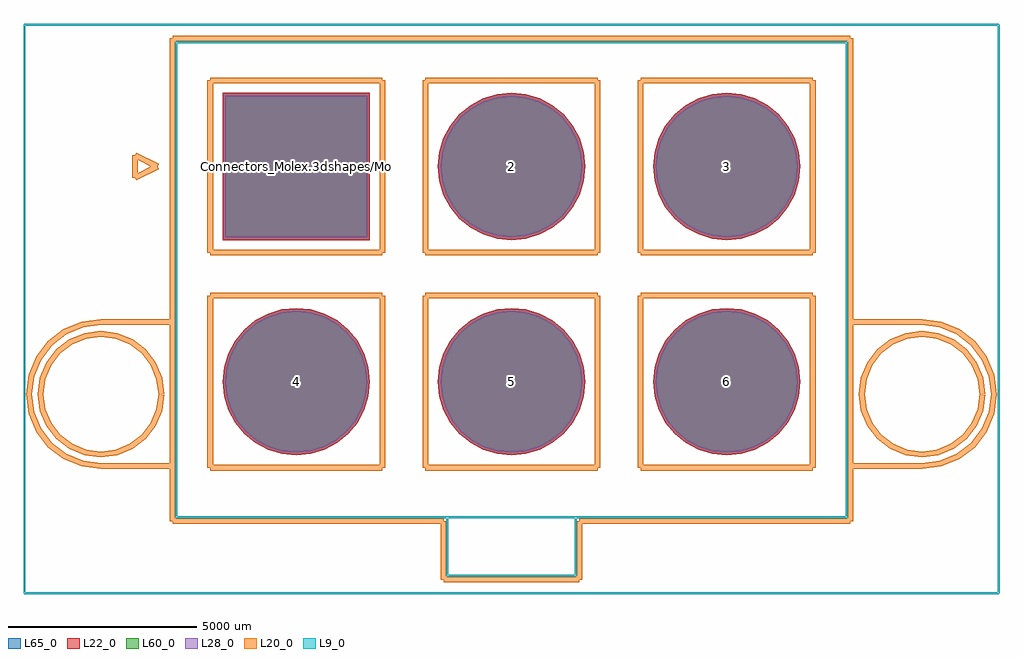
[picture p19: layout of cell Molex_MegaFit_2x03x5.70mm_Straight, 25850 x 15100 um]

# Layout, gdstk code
import gdstk
lib = gdstk.Library(unit=1e-6, precision=1e-09)
def R(c, l, rs):  # rectangles x0, y0, x1, y1
    for r in rs: c.add(gdstk.rectangle(r[:2], r[2:], *l))
def P(c, l, *ps):  # polygons
    for p in ps: c.add(gdstk.Polygon(p, *l))
L9_0 = (9, 0)
L20_0 = (20, 0)
L22_0 = (22, 0)
L28_0 = (28, 0)
L60_0 = (60, 0)
L65_0 = (65, 0)

molex_megafit_2x03x5_70m = lib.new_cell('Molex_MegaFit_2x03x5.70mm_Straight')
R(molex_megafit_2x03x5_70m, L22_0, [(-1950,-1950,1950,1950)])
P(molex_megafit_2x03x5_70m, L22_0, [(13350,-5700),(13312.531,-5319.574),(13201.565,-4953.767),(13021.366,-4616.638),(12778.858,-4321.142),(12483.362,-4078.634),(12146.233,-3898.435),(11780.426,-3787.469),(11400,-3750),(11019.574,-3787.469),(10653.767,-3898.435),(10316.638,-4078.634),(10021.142,-4321.142),(9778.634,-4616.638),(9598.435,-4953.767),(9487.469,-5319.574),(9450,-5700),(9487.469,-6080.426),(9598.435,-6446.233),(9778.634,-6783.362),(10021.142,-7078.858),(10316.638,-7321.366),(10653.767,-7501.565),(11019.574,-7612.531),(11400,-7650),(11780.426,-7612.531),(12146.233,-7501.565),(12483.362,-7321.366),(12778.858,-7078.858),(13021.366,-6783.362),(13201.565,-6446.233),(13312.531,-6080.426)],
  [(7650,-5700),(7612.531,-5319.574),(7501.565,-4953.767),(7321.366,-4616.638),(7078.858,-4321.142),(6783.362,-4078.634),(6446.233,-3898.435),(6080.426,-3787.469),(5700,-3750),(5319.574,-3787.469),(4953.767,-3898.435),(4616.638,-4078.634),(4321.142,-4321.142),(4078.634,-4616.638),(3898.435,-4953.767),(3787.469,-5319.574),(3750,-5700),(3787.469,-6080.426),(3898.435,-6446.233),(4078.634,-6783.362),(4321.142,-7078.858),(4616.638,-7321.366),(4953.767,-7501.565),(5319.574,-7612.531),(5700,-7650),(6080.426,-7612.531),(6446.233,-7501.565),(6783.362,-7321.366),(7078.858,-7078.858),(7321.366,-6783.362),(7501.565,-6446.233),(7612.531,-6080.426)],
  [(1950,-5700),(1912.531,-5319.574),(1801.565,-4953.767),(1621.366,-4616.638),(1378.858,-4321.142),(1083.362,-4078.634),(746.233,-3898.435),(380.426,-3787.469),(0,-3750),(-380.426,-3787.469),(-746.233,-3898.435),(-1083.362,-4078.634),(-1378.858,-4321.142),(-1621.366,-4616.638),(-1801.565,-4953.767),(-1912.531,-5319.574),(-1950,-5700),(-1912.531,-6080.426),(-1801.565,-6446.233),(-1621.366,-6783.362),(-1378.858,-7078.858),(-1083.362,-7321.366),(-746.233,-7501.565),(-380.426,-7612.531),(0,-7650),(380.426,-7612.531),(746.233,-7501.565),(1083.362,-7321.366),(1378.858,-7078.858),(1621.366,-6783.362),(1801.565,-6446.233),(1912.531,-6080.426)],
  [(13350,0),(13312.531,380.426),(13201.565,746.233),(13021.366,1083.362),(12778.858,1378.858),(12483.362,1621.366),(12146.233,1801.565),(11780.426,1912.531),(11400,1950),(11019.574,1912.531),(10653.767,1801.565),(10316.638,1621.366),(10021.142,1378.858),(9778.634,1083.362),(9598.435,746.233),(9487.469,380.426),(9450,0),(9487.469,-380.426),(9598.435,-746.233),(9778.634,-1083.362),(10021.142,-1378.858),(10316.638,-1621.366),(10653.767,-1801.565),(11019.574,-1912.531),(11400,-1950),(11780.426,-1912.531),(12146.233,-1801.565),(12483.362,-1621.366),(12778.858,-1378.858),(13021.366,-1083.362),(13201.565,-746.233),(13312.531,-380.426)],
  [(7650,0),(7612.531,380.426),(7501.565,746.233),(7321.366,1083.362),(7078.858,1378.858),(6783.362,1621.366),(6446.233,1801.565),(6080.426,1912.531),(5700,1950),(5319.574,1912.531),(4953.767,1801.565),(4616.638,1621.366),(4321.142,1378.858),(4078.634,1083.362),(3898.435,746.233),(3787.469,380.426),(3750,0),(3787.469,-380.426),(3898.435,-746.233),(4078.634,-1083.362),(4321.142,-1378.858),(4616.638,-1621.366),(4953.767,-1801.565),(5319.574,-1912.531),(5700,-1950),(6080.426,-1912.531),(6446.233,-1801.565),(6783.362,-1621.366),(7078.858,-1378.858),(7321.366,-1083.362),(7501.565,-746.233),(7612.531,-380.426)])
R(molex_megafit_2x03x5_70m, L28_0, [(-1875,-1875,1875,1875)])
P(molex_megafit_2x03x5_70m, L28_0, [(13275,-5700),(13238.972,-5334.206),(13132.274,-4982.469),(12959.006,-4658.306),(12725.825,-4374.175),(12441.694,-4140.994),(12117.531,-3967.726),(11765.794,-3861.028),(11400,-3825),(11034.206,-3861.028),(10682.469,-3967.726),(10358.306,-4140.994),(10074.175,-4374.175),(9840.994,-4658.306),(9667.726,-4982.469),(9561.028,-5334.206),(9525,-5700),(9561.028,-6065.794),(9667.726,-6417.531),(9840.994,-6741.694),(10074.175,-7025.825),(10358.306,-7259.006),(10682.469,-7432.274),(11034.206,-7538.972),(11400,-7575),(11765.794,-7538.972),(12117.531,-7432.274),(12441.694,-7259.006),(12725.825,-7025.825),(12959.006,-6741.694),(13132.274,-6417.531),(13238.972,-6065.794)],
  [(7575,-5700),(7538.972,-5334.206),(7432.274,-4982.469),(7259.006,-4658.306),(7025.825,-4374.175),(6741.694,-4140.994),(6417.531,-3967.726),(6065.794,-3861.028),(5700,-3825),(5334.206,-3861.028),(4982.469,-3967.726),(4658.306,-4140.994),(4374.175,-4374.175),(4140.994,-4658.306),(3967.726,-4982.469),(3861.028,-5334.206),(3825,-5700),(3861.028,-6065.794),(3967.726,-6417.531),(4140.994,-6741.694),(4374.175,-7025.825),(4658.306,-7259.006),(4982.469,-7432.274),(5334.206,-7538.972),(5700,-7575),(6065.794,-7538.972),(6417.531,-7432.274),(6741.694,-7259.006),(7025.825,-7025.825),(7259.006,-6741.694),(7432.274,-6417.531),(7538.972,-6065.794)],
  [(1875,-5700),(1838.972,-5334.206),(1732.274,-4982.469),(1559.006,-4658.306),(1325.825,-4374.175),(1041.694,-4140.994),(717.531,-3967.726),(365.794,-3861.028),(0,-3825),(-365.794,-3861.028),(-717.531,-3967.726),(-1041.694,-4140.994),(-1325.825,-4374.175),(-1559.006,-4658.306),(-1732.274,-4982.469),(-1838.972,-5334.206),(-1875,-5700),(-1838.972,-6065.794),(-1732.274,-6417.531),(-1559.006,-6741.694),(-1325.825,-7025.825),(-1041.694,-7259.006),(-717.531,-7432.274),(-365.794,-7538.972),(0,-7575),(365.794,-7538.972),(717.531,-7432.274),(1041.694,-7259.006),(1325.825,-7025.825),(1559.006,-6741.694),(1732.274,-6417.531),(1838.972,-6065.794)],
  [(13275,0),(13238.972,365.794),(13132.274,717.531),(12959.006,1041.694),(12725.825,1325.825),(12441.694,1559.006),(12117.531,1732.274),(11765.794,1838.972),(11400,1875),(11034.206,1838.972),(10682.469,1732.274),(10358.306,1559.006),(10074.175,1325.825),(9840.994,1041.694),(9667.726,717.531),(9561.028,365.794),(9525,0),(9561.028,-365.794),(9667.726,-717.531),(9840.994,-1041.694),(10074.175,-1325.825),(10358.306,-1559.006),(10682.469,-1732.274),(11034.206,-1838.972),(11400,-1875),(11765.794,-1838.972),(12117.531,-1732.274),(12441.694,-1559.006),(12725.825,-1325.825),(12959.006,-1041.694),(13132.274,-717.531),(13238.972,-365.794)],
  [(7575,0),(7538.972,365.794),(7432.274,717.531),(7259.006,1041.694),(7025.825,1325.825),(6741.694,1559.006),(6417.531,1732.274),(6065.794,1838.972),(5700,1875),(5334.206,1838.972),(4982.469,1732.274),(4658.306,1559.006),(4374.175,1325.825),(4140.994,1041.694),(3967.726,717.531),(3861.028,365.794),(3825,0),(3861.028,-365.794),(3967.726,-717.531),(4140.994,-1041.694),(4374.175,-1325.825),(4658.306,-1559.006),(4982.469,-1732.274),(5334.206,-1838.972),(5700,-1875),(6065.794,-1838.972),(6417.531,-1732.274),(6741.694,-1559.006),(7025.825,-1325.825),(7259.006,-1041.694),(7432.274,-717.531),(7538.972,-365.794)])
R(molex_megafit_2x03x5_70m, L60_0, [(-1875,-1875,1875,1875)])
P(molex_megafit_2x03x5_70m, L60_0, [(13275,-5700),(13238.972,-5334.206),(13132.274,-4982.469),(12959.006,-4658.306),(12725.825,-4374.175),(12441.694,-4140.994),(12117.531,-3967.726),(11765.794,-3861.028),(11400,-3825),(11034.206,-3861.028),(10682.469,-3967.726),(10358.306,-4140.994),(10074.175,-4374.175),(9840.994,-4658.306),(9667.726,-4982.469),(9561.028,-5334.206),(9525,-5700),(9561.028,-6065.794),(9667.726,-6417.531),(9840.994,-6741.694),(10074.175,-7025.825),(10358.306,-7259.006),(10682.469,-7432.274),(11034.206,-7538.972),(11400,-7575),(11765.794,-7538.972),(12117.531,-7432.274),(12441.694,-7259.006),(12725.825,-7025.825),(12959.006,-6741.694),(13132.274,-6417.531),(13238.972,-6065.794)],
  [(7575,-5700),(7538.972,-5334.206),(7432.274,-4982.469),(7259.006,-4658.306),(7025.825,-4374.175),(6741.694,-4140.994),(6417.531,-3967.726),(6065.794,-3861.028),(5700,-3825),(5334.206,-3861.028),(4982.469,-3967.726),(4658.306,-4140.994),(4374.175,-4374.175),(4140.994,-4658.306),(3967.726,-4982.469),(3861.028,-5334.206),(3825,-5700),(3861.028,-6065.794),(3967.726,-6417.531),(4140.994,-6741.694),(4374.175,-7025.825),(4658.306,-7259.006),(4982.469,-7432.274),(5334.206,-7538.972),(5700,-7575),(6065.794,-7538.972),(6417.531,-7432.274),(6741.694,-7259.006),(7025.825,-7025.825),(7259.006,-6741.694),(7432.274,-6417.531),(7538.972,-6065.794)],
  [(1875,-5700),(1838.972,-5334.206),(1732.274,-4982.469),(1559.006,-4658.306),(1325.825,-4374.175),(1041.694,-4140.994),(717.531,-3967.726),(365.794,-3861.028),(0,-3825),(-365.794,-3861.028),(-717.531,-3967.726),(-1041.694,-4140.994),(-1325.825,-4374.175),(-1559.006,-4658.306),(-1732.274,-4982.469),(-1838.972,-5334.206),(-1875,-5700),(-1838.972,-6065.794),(-1732.274,-6417.531),(-1559.006,-6741.694),(-1325.825,-7025.825),(-1041.694,-7259.006),(-717.531,-7432.274),(-365.794,-7538.972),(0,-7575),(365.794,-7538.972),(717.531,-7432.274),(1041.694,-7259.006),(1325.825,-7025.825),(1559.006,-6741.694),(1732.274,-6417.531),(1838.972,-6065.794)],
  [(13275,0),(13238.972,365.794),(13132.274,717.531),(12959.006,1041.694),(12725.825,1325.825),(12441.694,1559.006),(12117.531,1732.274),(11765.794,1838.972),(11400,1875),(11034.206,1838.972),(10682.469,1732.274),(10358.306,1559.006),(10074.175,1325.825),(9840.994,1041.694),(9667.726,717.531),(9561.028,365.794),(9525,0),(9561.028,-365.794),(9667.726,-717.531),(9840.994,-1041.694),(10074.175,-1325.825),(10358.306,-1559.006),(10682.469,-1732.274),(11034.206,-1838.972),(11400,-1875),(11765.794,-1838.972),(12117.531,-1732.274),(12441.694,-1559.006),(12725.825,-1325.825),(12959.006,-1041.694),(13132.274,-717.531),(13238.972,-365.794)],
  [(7575,0),(7538.972,365.794),(7432.274,717.531),(7259.006,1041.694),(7025.825,1325.825),(6741.694,1559.006),(6417.531,1732.274),(6065.794,1838.972),(5700,1875),(5334.206,1838.972),(4982.469,1732.274),(4658.306,1559.006),(4374.175,1325.825),(4140.994,1041.694),(3967.726,717.531),(3861.028,365.794),(3825,0),(3861.028,-365.794),(3967.726,-717.531),(4140.994,-1041.694),(4374.175,-1325.825),(4658.306,-1559.006),(4982.469,-1732.274),(5334.206,-1838.972),(5700,-1875),(6065.794,-1838.972),(6417.531,-1732.274),(6741.694,-1559.006),(7025.825,-1325.825),(7259.006,-1041.694),(7432.274,-717.531),(7538.972,-365.794)])
R(molex_megafit_2x03x5_70m, L65_0, [(-1950,-1950,1950,1950)])
P(molex_megafit_2x03x5_70m, L65_0, [(13350,-5700),(13312.531,-5319.574),(13201.565,-4953.767),(13021.366,-4616.638),(12778.858,-4321.142),(12483.362,-4078.634),(12146.233,-3898.435),(11780.426,-3787.469),(11400,-3750),(11019.574,-3787.469),(10653.767,-3898.435),(10316.638,-4078.634),(10021.142,-4321.142),(9778.634,-4616.638),(9598.435,-4953.767),(9487.469,-5319.574),(9450,-5700),(9487.469,-6080.426),(9598.435,-6446.233),(9778.634,-6783.362),(10021.142,-7078.858),(10316.638,-7321.366),(10653.767,-7501.565),(11019.574,-7612.531),(11400,-7650),(11780.426,-7612.531),(12146.233,-7501.565),(12483.362,-7321.366),(12778.858,-7078.858),(13021.366,-6783.362),(13201.565,-6446.233),(13312.531,-6080.426)],
  [(7650,-5700),(7612.531,-5319.574),(7501.565,-4953.767),(7321.366,-4616.638),(7078.858,-4321.142),(6783.362,-4078.634),(6446.233,-3898.435),(6080.426,-3787.469),(5700,-3750),(5319.574,-3787.469),(4953.767,-3898.435),(4616.638,-4078.634),(4321.142,-4321.142),(4078.634,-4616.638),(3898.435,-4953.767),(3787.469,-5319.574),(3750,-5700),(3787.469,-6080.426),(3898.435,-6446.233),(4078.634,-6783.362),(4321.142,-7078.858),(4616.638,-7321.366),(4953.767,-7501.565),(5319.574,-7612.531),(5700,-7650),(6080.426,-7612.531),(6446.233,-7501.565),(6783.362,-7321.366),(7078.858,-7078.858),(7321.366,-6783.362),(7501.565,-6446.233),(7612.531,-6080.426)],
  [(1950,-5700),(1912.531,-5319.574),(1801.565,-4953.767),(1621.366,-4616.638),(1378.858,-4321.142),(1083.362,-4078.634),(746.233,-3898.435),(380.426,-3787.469),(0,-3750),(-380.426,-3787.469),(-746.233,-3898.435),(-1083.362,-4078.634),(-1378.858,-4321.142),(-1621.366,-4616.638),(-1801.565,-4953.767),(-1912.531,-5319.574),(-1950,-5700),(-1912.531,-6080.426),(-1801.565,-6446.233),(-1621.366,-6783.362),(-1378.858,-7078.858),(-1083.362,-7321.366),(-746.233,-7501.565),(-380.426,-7612.531),(0,-7650),(380.426,-7612.531),(746.233,-7501.565),(1083.362,-7321.366),(1378.858,-7078.858),(1621.366,-6783.362),(1801.565,-6446.233),(1912.531,-6080.426)],
  [(13350,0),(13312.531,380.426),(13201.565,746.233),(13021.366,1083.362),(12778.858,1378.858),(12483.362,1621.366),(12146.233,1801.565),(11780.426,1912.531),(11400,1950),(11019.574,1912.531),(10653.767,1801.565),(10316.638,1621.366),(10021.142,1378.858),(9778.634,1083.362),(9598.435,746.233),(9487.469,380.426),(9450,0),(9487.469,-380.426),(9598.435,-746.233),(9778.634,-1083.362),(10021.142,-1378.858),(10316.638,-1621.366),(10653.767,-1801.565),(11019.574,-1912.531),(11400,-1950),(11780.426,-1912.531),(12146.233,-1801.565),(12483.362,-1621.366),(12778.858,-1378.858),(13021.366,-1083.362),(13201.565,-746.233),(13312.531,-380.426)],
  [(7650,0),(7612.531,380.426),(7501.565,746.233),(7321.366,1083.362),(7078.858,1378.858),(6783.362,1621.366),(6446.233,1801.565),(6080.426,1912.531),(5700,1950),(5319.574,1912.531),(4953.767,1801.565),(4616.638,1621.366),(4321.142,1378.858),(4078.634,1083.362),(3898.435,746.233),(3787.469,380.426),(3750,0),(3787.469,-380.426),(3898.435,-746.233),(4078.634,-1083.362),(4321.142,-1378.858),(4616.638,-1621.366),(4953.767,-1801.565),(5319.574,-1912.531),(5700,-1950),(6080.426,-1912.531),(6446.233,-1801.565),(6783.362,-1621.366),(7078.858,-1378.858),(7321.366,-1083.362),(7501.565,-746.233),(7612.531,-380.426)])
molex_megafit_2x03x5_70m.add(gdstk.FlexPath([(18600,3750),(-7200,3750)], 50, ends="flush", simple_path=True, layer=9, datatype=0))  # L9_0
molex_megafit_2x03x5_70m.add(gdstk.FlexPath([(18600,-11300),(18600,3750)], 50, ends="flush", simple_path=True, layer=9, datatype=0))  # L9_0
molex_megafit_2x03x5_70m.add(gdstk.FlexPath([(-7200,-11300),(18600,-11300)], 50, ends="flush", simple_path=True, layer=9, datatype=0))  # L9_0
molex_megafit_2x03x5_70m.add(gdstk.FlexPath([(-7200,3750),(-7200,-11300)], 50, ends="flush", simple_path=True, layer=9, datatype=0))  # L9_0
molex_megafit_2x03x5_70m.add(gdstk.FlexPath([(-4275,300),(-3675,0)], 149.998, ends="flush", simple_path=True, layer=20, datatype=0))  # L20_0
molex_megafit_2x03x5_70m.add(gdstk.FlexPath([(-4275,-300),(-4275,300)], 149.998, ends="flush", simple_path=True, layer=20, datatype=0))  # L20_0
molex_megafit_2x03x5_70m.add(gdstk.FlexPath([(-3675,0),(-4275,-300)], 149.998, ends="flush", simple_path=True, layer=20, datatype=0))  # L20_0
molex_megafit_2x03x5_70m.add(gdstk.FlexPath([(13680,-3420),(9120,-3420)], 149.998, ends="flush", simple_path=True, layer=20, datatype=0))  # L20_0
molex_megafit_2x03x5_70m.add(gdstk.FlexPath([(13680,-7980),(13680,-3420)], 149.998, ends="flush", simple_path=True, layer=20, datatype=0))  # L20_0
molex_megafit_2x03x5_70m.add(gdstk.FlexPath([(9120,-7980),(13680,-7980)], 149.998, ends="flush", simple_path=True, layer=20, datatype=0))  # L20_0
molex_megafit_2x03x5_70m.add(gdstk.FlexPath([(9120,-3420),(9120,-7980)], 149.998, ends="flush", simple_path=True, layer=20, datatype=0))  # L20_0
molex_megafit_2x03x5_70m.add(gdstk.FlexPath([(13680,2280),(9120,2280)], 149.998, ends="flush", simple_path=True, layer=20, datatype=0))  # L20_0
molex_megafit_2x03x5_70m.add(gdstk.FlexPath([(13680,-2280),(13680,2280)], 149.998, ends="flush", simple_path=True, layer=20, datatype=0))  # L20_0
molex_megafit_2x03x5_70m.add(gdstk.FlexPath([(9120,-2280),(13680,-2280)], 149.998, ends="flush", simple_path=True, layer=20, datatype=0))  # L20_0
molex_megafit_2x03x5_70m.add(gdstk.FlexPath([(9120,2280),(9120,-2280)], 149.998, ends="flush", simple_path=True, layer=20, datatype=0))  # L20_0
molex_megafit_2x03x5_70m.add(gdstk.FlexPath([(7980,-3420),(3420,-3420)], 149.998, ends="flush", simple_path=True, layer=20, datatype=0))  # L20_0
molex_megafit_2x03x5_70m.add(gdstk.FlexPath([(7980,-7980),(7980,-3420)], 149.998, ends="flush", simple_path=True, layer=20, datatype=0))  # L20_0
molex_megafit_2x03x5_70m.add(gdstk.FlexPath([(3420,-7980),(7980,-7980)], 149.998, ends="flush", simple_path=True, layer=20, datatype=0))  # L20_0
molex_megafit_2x03x5_70m.add(gdstk.FlexPath([(3420,-3420),(3420,-7980)], 149.998, ends="flush", simple_path=True, layer=20, datatype=0))  # L20_0
molex_megafit_2x03x5_70m.add(gdstk.FlexPath([(7980,2280),(3420,2280)], 149.998, ends="flush", simple_path=True, layer=20, datatype=0))  # L20_0
molex_megafit_2x03x5_70m.add(gdstk.FlexPath([(7980,-2280),(7980,2280)], 149.998, ends="flush", simple_path=True, layer=20, datatype=0))  # L20_0
molex_megafit_2x03x5_70m.add(gdstk.FlexPath([(3420,-2280),(7980,-2280)], 149.998, ends="flush", simple_path=True, layer=20, datatype=0))  # L20_0
molex_megafit_2x03x5_70m.add(gdstk.FlexPath([(3420,2280),(3420,-2280)], 149.998, ends="flush", simple_path=True, layer=20, datatype=0))  # L20_0
molex_megafit_2x03x5_70m.add(gdstk.FlexPath([(2280,-3420),(-2280,-3420)], 149.998, ends="flush", simple_path=True, layer=20, datatype=0))  # L20_0
molex_megafit_2x03x5_70m.add(gdstk.FlexPath([(2280,-7980),(2280,-3420)], 149.998, ends="flush", simple_path=True, layer=20, datatype=0))  # L20_0
molex_megafit_2x03x5_70m.add(gdstk.FlexPath([(-2280,-7980),(2280,-7980)], 149.998, ends="flush", simple_path=True, layer=20, datatype=0))  # L20_0
molex_megafit_2x03x5_70m.add(gdstk.FlexPath([(-2280,-3420),(-2280,-7980)], 149.998, ends="flush", simple_path=True, layer=20, datatype=0))  # L20_0
molex_megafit_2x03x5_70m.add(gdstk.FlexPath([(2280,2280),(-2280,2280)], 149.998, ends="flush", simple_path=True, layer=20, datatype=0))  # L20_0
molex_megafit_2x03x5_70m.add(gdstk.FlexPath([(2280,-2280),(2280,2280)], 149.998, ends="flush", simple_path=True, layer=20, datatype=0))  # L20_0
molex_megafit_2x03x5_70m.add(gdstk.FlexPath([(-2280,-2280),(2280,-2280)], 149.998, ends="flush", simple_path=True, layer=20, datatype=0))  # L20_0
molex_megafit_2x03x5_70m.add(gdstk.FlexPath([(-2280,2280),(-2280,-2280)], 149.998, ends="flush", simple_path=True, layer=20, datatype=0))  # L20_0
molex_megafit_2x03x5_70m.add(gdstk.FlexPath([(16575,-7936.25),(14675,-7936.25)], 149.998, ends="flush", simple_path=True, layer=20, datatype=0))  # L20_0
molex_megafit_2x03x5_70m.add(gdstk.FlexPath([(16575,-4123.75),(14675,-4123.75)], 149.998, ends="flush", simple_path=True, layer=20, datatype=0))  # L20_0
molex_megafit_2x03x5_70m.add(gdstk.FlexPath([(-5175,-7936.25),(-3275,-7936.25)], 149.998, ends="flush", simple_path=True, layer=20, datatype=0))  # L20_0
molex_megafit_2x03x5_70m.add(gdstk.FlexPath([(-5175,-4123.75),(-3275,-4123.75)], 149.998, ends="flush", simple_path=True, layer=20, datatype=0))  # L20_0
molex_megafit_2x03x5_70m.add(gdstk.FlexPath([(7500,-10940),(5700,-10940)], 149.998, ends="flush", simple_path=True, layer=20, datatype=0))  # L20_0
molex_megafit_2x03x5_70m.add(gdstk.FlexPath([(7500,-9390),(7500,-10940)], 149.998, ends="flush", simple_path=True, layer=20, datatype=0))  # L20_0
molex_megafit_2x03x5_70m.add(gdstk.FlexPath([(14675,-9390),(7500,-9390)], 149.998, ends="flush", simple_path=True, layer=20, datatype=0))  # L20_0
molex_megafit_2x03x5_70m.add(gdstk.FlexPath([(14675,3390),(14675,-9390)], 149.998, ends="flush", simple_path=True, layer=20, datatype=0))  # L20_0
molex_megafit_2x03x5_70m.add(gdstk.FlexPath([(5700,3390),(14675,3390)], 149.998, ends="flush", simple_path=True, layer=20, datatype=0))  # L20_0
molex_megafit_2x03x5_70m.add(gdstk.FlexPath([(3900,-10940),(5700,-10940)], 149.998, ends="flush", simple_path=True, layer=20, datatype=0))  # L20_0
molex_megafit_2x03x5_70m.add(gdstk.FlexPath([(3900,-9390),(3900,-10940)], 149.998, ends="flush", simple_path=True, layer=20, datatype=0))  # L20_0
molex_megafit_2x03x5_70m.add(gdstk.FlexPath([(-3275,-9390),(3900,-9390)], 149.998, ends="flush", simple_path=True, layer=20, datatype=0))  # L20_0
molex_megafit_2x03x5_70m.add(gdstk.FlexPath([(-3275,3390),(-3275,-9390)], 149.998, ends="flush", simple_path=True, layer=20, datatype=0))  # L20_0
molex_megafit_2x03x5_70m.add(gdstk.FlexPath([(5700,3390),(-3275,3390)], 149.998, ends="flush", simple_path=True, layer=20, datatype=0))  # L20_0
molex_megafit_2x03x5_70m.add(gdstk.FlexPath([(7400,-10840),(7400,-9290)], 50, ends="flush", simple_path=True, layer=9, datatype=0))  # L9_0
molex_megafit_2x03x5_70m.add(gdstk.FlexPath([(4000,-10840),(7400,-10840)], 50, ends="flush", simple_path=True, layer=9, datatype=0))  # L9_0
molex_megafit_2x03x5_70m.add(gdstk.FlexPath([(4000,-9290),(4000,-10840)], 50, ends="flush", simple_path=True, layer=9, datatype=0))  # L9_0
molex_megafit_2x03x5_70m.add(gdstk.FlexPath([(14575,3290),(-3175,3290)], 50, ends="flush", simple_path=True, layer=9, datatype=0))  # L9_0
molex_megafit_2x03x5_70m.add(gdstk.FlexPath([(14575,-9290),(14575,3290)], 50, ends="flush", simple_path=True, layer=9, datatype=0))  # L9_0
molex_megafit_2x03x5_70m.add(gdstk.FlexPath([(-3175,-9290),(14575,-9290)], 50, ends="flush", simple_path=True, layer=9, datatype=0))  # L9_0
molex_megafit_2x03x5_70m.add(gdstk.FlexPath([(-3175,3290),(-3175,-9290)], 50, ends="flush", simple_path=True, layer=9, datatype=0))  # L9_0
molex_megafit_2x03x5_70m.add(gdstk.FlexPath([(18175,-6030),(18120.481,-5615.89),(17960.641,-5230),(17706.371,-4898.629),(17375,-4644.359),(16989.11,-4484.519),(16575,-4430),(16160.89,-4484.519),(15775,-4644.359),(15443.629,-4898.629),(15189.359,-5230),(15029.519,-5615.89),(14975,-6030),(15029.519,-6444.11),(15189.359,-6830),(15443.629,-7161.371),(15775,-7415.641),(16160.89,-7575.481),(16575,-7630),(16989.11,-7575.481),(17375,-7415.641),(17706.371,-7161.371),(17960.641,-6830),(18120.481,-6444.11),(18175,-6030)], 149.998, ends="flush", simple_path=True, layer=20, datatype=0))  # L20_0
molex_megafit_2x03x5_70m.add(gdstk.FlexPath([(-3575,-6030),(-3629.519,-5615.89),(-3789.359,-5230),(-4043.629,-4898.629),(-4375,-4644.359),(-4760.89,-4484.519),(-5175,-4430),(-5589.11,-4484.519),(-5975,-4644.359),(-6306.371,-4898.629),(-6560.641,-5230),(-6720.481,-5615.89),(-6775,-6030),(-6720.481,-6444.11),(-6560.641,-6830),(-6306.371,-7161.371),(-5975,-7415.641),(-5589.11,-7575.481),(-5175,-7630),(-4760.89,-7575.481),(-4375,-7415.641),(-4043.629,-7161.371),(-3789.359,-6830),(-3629.519,-6444.11),(-3575,-6030)], 149.998, ends="flush", simple_path=True, layer=20, datatype=0))  # L20_0
molex_megafit_2x03x5_70m.add(gdstk.FlexPath([(16575,-7936.25),(17068.374,-7871.296),(17528.125,-7680.861),(17922.922,-7377.922),(18225.861,-6983.125),(18416.296,-6523.374),(18481.25,-6030),(18416.296,-5536.626),(18225.861,-5076.875),(17922.922,-4682.078),(17528.125,-4379.139),(17068.374,-4188.704),(16575,-4123.75)], 149.998, ends="flush", simple_path=True, layer=20, datatype=0))  # L20_0
molex_megafit_2x03x5_70m.add(gdstk.FlexPath([(-5175,-4123.75),(-5668.374,-4188.704),(-6128.125,-4379.139),(-6522.922,-4682.078),(-6825.861,-5076.875),(-7016.296,-5536.626),(-7081.25,-6030),(-7016.296,-6523.374),(-6825.861,-6983.125),(-6522.922,-7377.922),(-6128.125,-7680.861),(-5668.374,-7871.296),(-5175,-7936.25)], 149.998, ends="flush", simple_path=True, layer=20, datatype=0))  # L20_0
molex_megafit_2x03x5_70m.add(gdstk.Label('Connectors_Molex.3dshapes/Molex_MegaFit_2x03x5.70mm_Straight.wrl', (0,0), layer=12, texttype=0))
molex_megafit_2x03x5_70m.add(gdstk.Label('6', (11400,-5700), layer=28, texttype=0))
molex_megafit_2x03x5_70m.add(gdstk.Label('5', (5700,-5700), layer=28, texttype=0))
molex_megafit_2x03x5_70m.add(gdstk.Label('4', (0,-5700), layer=28, texttype=0))
molex_megafit_2x03x5_70m.add(gdstk.Label('3', (11400,0), layer=28, texttype=0))
molex_megafit_2x03x5_70m.add(gdstk.Label('2', (5700,0), layer=28, texttype=0))
molex_megafit_2x03x5_70m.add(gdstk.Label('1', (0,0), layer=28, texttype=0))
molex_megafit_2x03x5_70m.add(gdstk.Label('type', (5700,4700), layer=9, texttype=0))
molex_megafit_2x03x5_70m.add(gdstk.Label('devicename', (5700,-12000), layer=9, texttype=0))

lib.write_gds('Molex_MegaFit_2x03x5.70mm_Straight.gds')
